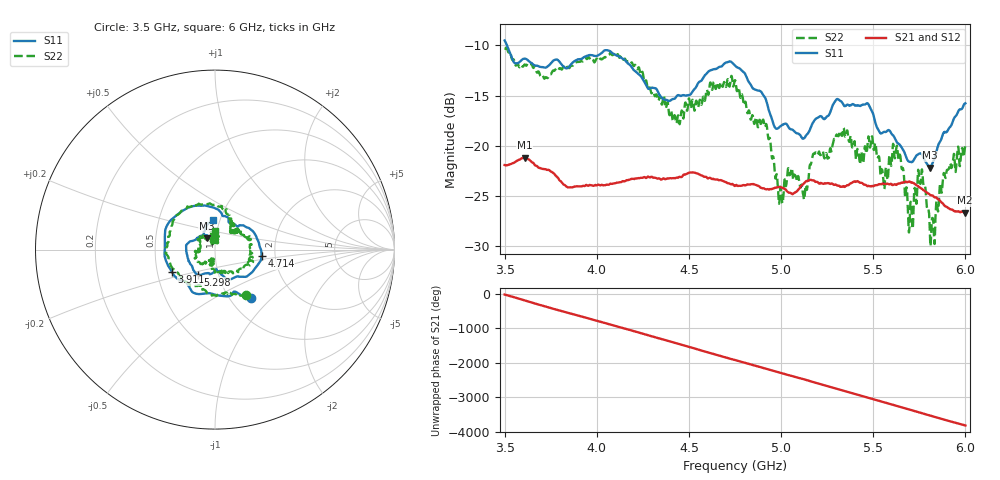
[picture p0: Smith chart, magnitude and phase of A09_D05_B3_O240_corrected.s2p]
! Created with skrf 1.9.0 (http://scikit-rf.org).
# Hz S RI R 50.0
!freq ReS11 ImS11 ReS21 ImS21 ReS12 ImS12 ReS22 ImS22
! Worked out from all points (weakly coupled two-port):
!   1601 points, 3.5 GHz to 6 GHz, reference 50 ohm
!   highest |S21| = -21.19 dB at 3.609 GHz (marker M1); lowest = -26.7 dB at 5.995 GHz (marker M2)
!   lowest |S11| = -22.2 dB at 5.808 GHz (marker M3), VSWR 1.17, Z = 45.2 + j5.7 ohm
!   |S11| at or under -10 dB: 3.513 GHz to end of sweep
!   |S22| runs from -30.0 to -10.2 dB; largest |S21 - S12| = 0.00098
!   S11 on the Smith chart (normalised r, x): 3.5 GHz: 1.25, -0.75; 3.911 GHz: 0.60, -0.16; 4.714 GHz: 1.69, -0.13; 5.298 GHz: 0.80, -0.23; 6 GHz: 0.93, +0.31
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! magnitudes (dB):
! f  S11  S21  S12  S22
! 3.5 GHz  -9.5  -21.9  -21.9  -10.3
! 3.609 GHz  -11.3  -21.2  -21.2  -11.9
! 3.911 GHz  -11.4  -24.0  -24.0  -11.6
! 3.917 GHz  -11.4  -24.0  -24.0  -11.5
! 4.125 GHz  -11.1  -23.6  -23.6  -11.2
! 4.334 GHz  -14.7  -23.2  -23.2  -15.5
! 4.441 GHz  -15.0  -23.2  -23.1  -17.0
! 4.714 GHz  -11.6  -23.7  -23.8  -13.6
! 4.75 GHz  -12.0  -24.0  -23.9  -13.5
! 4.914 GHz  -15.2  -24.3  -24.3  -18.1
! 4.998 GHz  -18.0  -24.1  -24.1  -24.1
! 5.048 GHz  -18.3  -24.7  -24.7  -22.9
! 5.13 GHz  -19.2  -23.6  -23.6  -24.6
! 5.167 GHz  -17.9  -23.4  -23.4  -21.4
! 5.298 GHz  -15.4  -23.9  -23.8  -19.0
! 5.584 GHz  -18.4  -23.8  -23.8  -21.7
! 5.638 GHz  -19.8  -23.8  -23.7  -21.3
! 5.703 GHz  -21.6  -23.6  -23.6  -25.6
! 5.756 GHz  -20.8  -24.2  -24.2  -23.8
! 5.808 GHz  -22.2  -24.9  -24.9  -28.9
! 5.995 GHz  -15.8  -26.7  -26.6  -20.5
! 6 GHz  -15.8  -26.6  -26.6  -19.8
